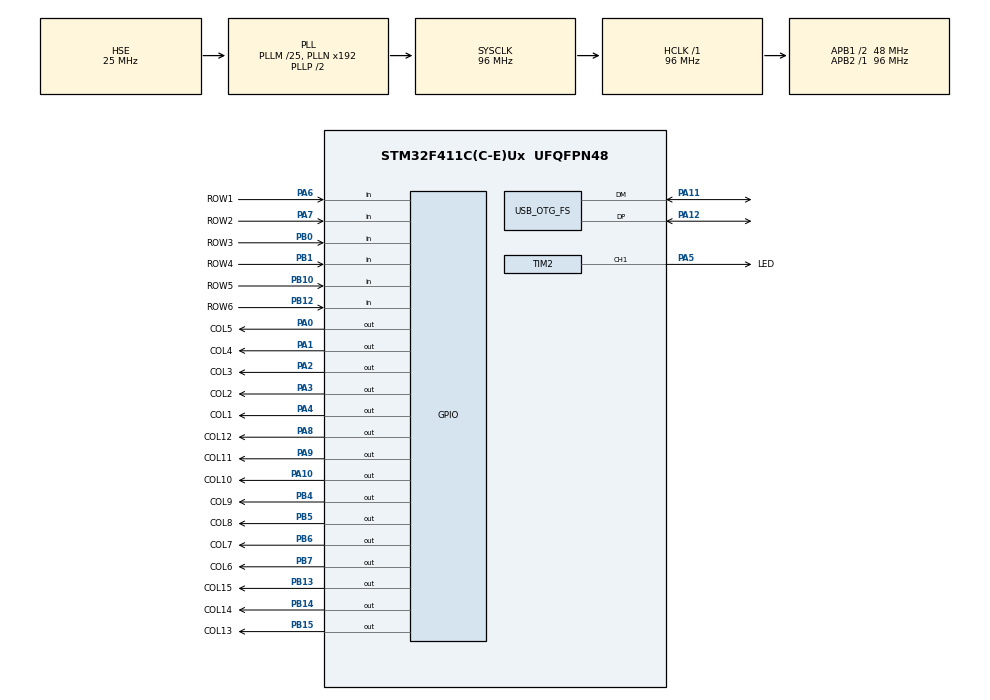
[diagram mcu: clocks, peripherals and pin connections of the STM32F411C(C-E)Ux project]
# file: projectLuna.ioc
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Dma.Request0=TIM2_CH1
Dma.TIM2_CH1.0.Direction=DMA_MEMORY_TO_PERIPH
Dma.TIM2_CH1.0.FIFOMode=DMA_FIFOMODE_DISABLE
Dma.TIM2_CH1.0.Instance=DMA1_Stream5
Dma.TIM2_CH1.0.MemDataAlignment=DMA_MDATAALIGN_WORD
Dma.TIM2_CH1.0.MemInc=DMA_MINC_ENABLE
Dma.TIM2_CH1.0.Mode=DMA_CIRCULAR
Dma.TIM2_CH1.0.PeriphDataAlignment=DMA_PDATAALIGN_WORD
Dma.TIM2_CH1.0.PeriphInc=DMA_PINC_DISABLE
Dma.TIM2_CH1.0.Priority=DMA_PRIORITY_LOW
Mcu.Family=STM32F4
Mcu.Name=STM32F411C(C-E)Ux
Mcu.Package=UFQFPN48
NVIC.DMA1_Stream5_IRQn=true\:0\:0\:false\:false\:true\:false\:true
NVIC.OTG_FS_IRQn=true\:0\:0\:false\:false\:true\:false\:true
NVIC.PriorityGroup=NVIC_PRIORITYGROUP_4
PA0-WKUP.GPIO_Label=COL5
PA0-WKUP.Signal=GPIO_Output
PA1.GPIO_Label=COL4
PA1.Signal=GPIO_Output
PA10.GPIO_Label=COL10
PA10.Signal=GPIO_Output
PA11.Mode=Device_Only
PA11.Signal=USB_OTG_FS_DM
PA12.Mode=Device_Only
PA12.Signal=USB_OTG_FS_DP
PA2.GPIO_Label=COL3
PA2.Signal=GPIO_Output
PA3.GPIO_Label=COL2
PA3.Signal=GPIO_Output
PA4.GPIO_Label=COL1
PA4.Signal=GPIO_Output
PA5.GPIO_Label=LED
PA5.GPIO_ModeDefaultPP=GPIO_MODE_AF_OD
PA5.GPIO_PuPd=GPIO_NOPULL
PA5.GPIO_Speed=GPIO_SPEED_FREQ_VERY_HIGH
PA5.Signal=S_TIM2_CH1_ETR
PA6.GPIO_Label=ROW1
PA6.GPIO_PuPd=GPIO_PULLDOWN
PA6.Signal=GPIO_Input
PA7.GPIO_Label=ROW2
PA7.GPIO_PuPd=GPIO_PULLDOWN
PA7.Signal=GPIO_Input
PA8.GPIO_Label=COL12
PA8.Signal=GPIO_Output
PA9.GPIO_Label=COL11
PA9.Signal=GPIO_Output
PB0.GPIO_Label=ROW3
PB0.GPIO_PuPd=GPIO_PULLDOWN
PB0.Signal=GPIO_Input
PB1.GPIO_Label=ROW4
PB1.GPIO_PuPd=GPIO_PULLDOWN
PB1.Signal=GPIO_Input
PB10.GPIO_Label=ROW5
PB10.GPIO_PuPd=GPIO_PULLDOWN
PB10.Signal=GPIO_Input
PB12.GPIO_Label=ROW6
PB12.GPIO_PuPd=GPIO_PULLDOWN
PB12.Signal=GPIO_Input
PB13.GPIO_Label=COL15
PB13.Signal=GPIO_Output
PB14.GPIO_Label=COL14
PB14.Signal=GPIO_Output
PB15.GPIO_Label=COL13
PB15.Signal=GPIO_Output
PB4.GPIO_Label=COL9
PB4.Signal=GPIO_Output
PB5.GPIO_Label=COL8
PB5.Signal=GPIO_Output
PB6.GPIO_Label=COL7
PB6.Signal=GPIO_Output
PB7.GPIO_Label=COL6
PB7.Signal=GPIO_Output
PH0\ -\ OSC_IN.Mode=HSE-External-Oscillator
PH0\ -\ OSC_IN.Signal=RCC_OSC_IN
PH1\ -\ OSC_OUT.Mode=HSE-External-Oscillator
PH1\ -\ OSC_OUT.Signal=RCC_OSC_OUT
ProjectManager.HeapSize=0x200
ProjectManager.StackSize=0x400
ProjectManager.TargetToolchain=STM32CubeIDE
RCC.48MHZClocksFreq_Value=48000000
RCC.AHBFreq_Value=96000000
RCC.APB1CLKDivider=RCC_HCLK_DIV2
RCC.APB1Freq_Value=48000000
RCC.APB1TimFreq_Value=96000000
RCC.APB2Freq_Value=96000000
RCC.APB2TimFreq_Value=96000000
RCC.CortexFreq_Value=96000000
RCC.HCLKFreq_Value=96000000
RCC.HSE_VALUE=25000000
RCC.HSI_VALUE=16000000
RCC.LSE_VALUE=32768
RCC.PLLM=25
RCC.SYSCLKFreq_VALUE=96000000
RCC.SYSCLKSource=RCC_SYSCLKSOURCE_PLLCLK
RCC.VCOOutputFreq_Value=192000000
SH.S_TIM2_CH1_ETR.0=TIM2_CH1,PWM Generation1 CH1
TIM2.Channel-PWM\ Generation1\ CH1=TIM_CHANNEL_1
TIM2.Period=2
TIM2.Prescaler=39
USB_DEVICE.CLASS_NAME_FS=HID
USB_DEVICE.MANUFACTURER_STRING=Sebastian Szczepanski
USB_DEVICE.PRODUCT_STRING_HID_FS=projectLuna Keyboard
USB_DEVICE.VirtualMode=Hid
USB_DEVICE.VirtualModeFS=Hid_FS
USB_OTG_FS.VirtualMode=Device_Only
VP_USB_DEVICE_VS_USB_DEVICE_HID_FS.Mode=HID_FS
board=custom

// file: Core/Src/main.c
/* USER CODE BEGIN Header */
/**
  ******************************************************************************
  * @file           : main.c
  * @brief          : Main program body
  ******************************************************************************
  * @attention
  *
  * <h2><center>&copy; Copyright (c) 2021 STMicroelectronics.
  * All rights reserved.</center></h2>
  *
  * This software component is licensed by ST under BSD 3-Clause license,
  * the "License"; You may not use this file except in compliance with the
  * License. You may obtain a copy of the License at:
  *                        opensource.org/licenses/BSD-3-Clause
  *
  ******************************************************************************
  */
/* USER CODE END Header */
#include "main.h"
#include "usb_device.h"

/* USER CODE BEGIN Includes */
#include <time.h>

#include "led.h"
#include "matrix.h"

/* USER CODE END Includes */

TIM_HandleTypeDef htim2;
DMA_HandleTypeDef hdma_tim2_ch1;

void SystemClock_Config(void);
static void MX_GPIO_Init(void);
static void MX_DMA_Init(void);
static void MX_TIM2_Init(void);

/* USER CODE BEGIN 0 */

/* Define callbacks for driving LEDs */
void HAL_TIM_PWM_PulseFinishedHalfCpltCallback(TIM_HandleTypeDef *htim) {
  if(htim->Instance == TIM2) {
    LED_DMA_Step(1);
  }
}

void HAL_TIM_PWM_PulseFinishedCallback(TIM_HandleTypeDef *htim) {
  if(htim->Instance == TIM2) {
    LED_DMA_Step(0);
  }
}

/* USER CODE END 0 */

int main(void)
{

  /* MCU Configuration--------------------------------------------------------*/

  /* Reset of all peripherals, Initializes the Flash interface and the Systick. */
  HAL_Init();

  /* Configure the system clock */
  SystemClock_Config();

  /* Initialize all configured peripherals */
  MX_GPIO_Init();
  MX_DMA_Init();
  MX_TIM2_Init();
  MX_USB_DEVICE_Init();
  /* USER CODE BEGIN 2 */
  LED_Init(&htim2, TIM_CHANNEL_1);
  MATRIX_Init();

  /* USER CODE END 2 */

  /* Infinite loop */
  /* USER CODE BEGIN WHILE */
  // TODO: Replace with a Timer
  uint32_t last_tick = HAL_GetTick();
  while (1)
  {
    const uint32_t current_tick = HAL_GetTick();

    if(current_tick >= last_tick + 1) {
      LED_Update();
      MATRIX_Scan();
      last_tick = current_tick;
    }

    /* USER CODE END WHILE */

  }
}

void SystemClock_Config(void)
{
  RCC_OscInitTypeDef RCC_OscInitStruct = {0};
  RCC_ClkInitTypeDef RCC_ClkInitStruct = {0};

  /** Configure the main internal regulator output voltage
  */
  __HAL_RCC_PWR_CLK_ENABLE();
  __HAL_PWR_VOLTAGESCALING_CONFIG(PWR_REGULATOR_VOLTAGE_SCALE1);
  /** Initializes the RCC Oscillators according to the specified parameters
  * in the RCC_OscInitTypeDef structure.
  */
  RCC_OscInitStruct.OscillatorType = RCC_OSCILLATORTYPE_HSE;
  RCC_OscInitStruct.HSEState = RCC_HSE_ON;
  RCC_OscInitStruct.PLL.PLLState = RCC_PLL_ON;
  RCC_OscInitStruct.PLL.PLLSource = RCC_PLLSOURCE_HSE;
  RCC_OscInitStruct.PLL.PLLM = 25;
  RCC_OscInitStruct.PLL.PLLN = 192;
  RCC_OscInitStruct.PLL.PLLP = RCC_PLLP_DIV2;
  RCC_OscInitStruct.PLL.PLLQ = 4;
  if (HAL_RCC_OscConfig(&RCC_OscInitStruct) != HAL_OK)
  {
    Error_Handler();
  }
  /** Initializes the CPU, AHB and APB buses clocks
  */
  RCC_ClkInitStruct.ClockType = RCC_CLOCKTYPE_HCLK|RCC_CLOCKTYPE_SYSCLK
                              |RCC_CLOCKTYPE_PCLK1|RCC_CLOCKTYPE_PCLK2;
  RCC_ClkInitStruct.SYSCLKSource = RCC_SYSCLKSOURCE_PLLCLK;
  RCC_ClkInitStruct.AHBCLKDivider = RCC_SYSCLK_DIV1;
  RCC_ClkInitStruct.APB1CLKDivider = RCC_HCLK_DIV2;
  RCC_ClkInitStruct.APB2CLKDivider = RCC_HCLK_DIV1;

  if (HAL_RCC_ClockConfig(&RCC_ClkInitStruct, FLASH_LATENCY_3) != HAL_OK)
  {
    Error_Handler();
  }
}

static void MX_TIM2_Init(void)
{

  TIM_MasterConfigTypeDef sMasterConfig = {0};
  TIM_OC_InitTypeDef sConfigOC = {0};

  htim2.Instance = TIM2;
  htim2.Init.Prescaler = 39;
  htim2.Init.CounterMode = TIM_COUNTERMODE_UP;
  htim2.Init.Period = 2;
  htim2.Init.ClockDivision = TIM_CLOCKDIVISION_DIV1;
  htim2.Init.AutoReloadPreload = TIM_AUTORELOAD_PRELOAD_DISABLE;
  if (HAL_TIM_PWM_Init(&htim2) != HAL_OK)
  {
    Error_Handler();
  }
  sMasterConfig.MasterOutputTrigger = TIM_TRGO_RESET;
  sMasterConfig.MasterSlaveMode = TIM_MASTERSLAVEMODE_DISABLE;
  if (HAL_TIMEx_MasterConfigSynchronization(&htim2, &sMasterConfig) != HAL_OK)
  {
    Error_Handler();
  }
  sConfigOC.OCMode = TIM_OCMODE_PWM1;
  sConfigOC.Pulse = 0;
  sConfigOC.OCPolarity = TIM_OCPOLARITY_HIGH;
  sConfigOC.OCFastMode = TIM_OCFAST_DISABLE;
  if (HAL_TIM_PWM_ConfigChannel(&htim2, &sConfigOC, TIM_CHANNEL_1) != HAL_OK)
  {
    Error_Handler();
  }
  HAL_TIM_MspPostInit(&htim2);

}

static void MX_DMA_Init(void)
{

  /* DMA controller clock enable */
  __HAL_RCC_DMA1_CLK_ENABLE();

  /* DMA interrupt init */
  /* DMA1_Stream5_IRQn interrupt configuration */
  HAL_NVIC_SetPriority(DMA1_Stream5_IRQn, 0, 0);
  HAL_NVIC_EnableIRQ(DMA1_Stream5_IRQn);

}

static void MX_GPIO_Init(void)
{
  GPIO_InitTypeDef GPIO_InitStruct = {0};

  /* GPIO Ports Clock Enable */
  __HAL_RCC_GPIOH_CLK_ENABLE();
  __HAL_RCC_GPIOA_CLK_ENABLE();
  __HAL_RCC_GPIOB_CLK_ENABLE();

  /*Configure GPIO pin Output Level */
  HAL_GPIO_WritePin(GPIOA, COL5_Pin|COL4_Pin|COL3_Pin|COL2_Pin
                          |COL1_Pin|COL12_Pin|COL11_Pin|COL10_Pin, GPIO_PIN_RESET);

  /*Configure GPIO pin Output Level */
  HAL_GPIO_WritePin(GPIOB, COL15_Pin|COL14_Pin|COL13_Pin|COL9_Pin
                          |COL8_Pin|COL7_Pin|COL6_Pin, GPIO_PIN_RESET);

  /*Configure GPIO pins : COL5_Pin COL4_Pin COL3_Pin COL2_Pin
                           COL1_Pin COL12_Pin COL11_Pin COL10_Pin */
  GPIO_InitStruct.Pin = COL5_Pin|COL4_Pin|COL3_Pin|COL2_Pin
                          |COL1_Pin|COL12_Pin|COL11_Pin|COL10_Pin;
  GPIO_InitStruct.Mode = GPIO_MODE_OUTPUT_PP;
  GPIO_InitStruct.Pull = GPIO_NOPULL;
  GPIO_InitStruct.Speed = GPIO_SPEED_FREQ_LOW;
  HAL_GPIO_Init(GPIOA, &GPIO_InitStruct);

  /*Configure GPIO pins : ROW1_Pin ROW2_Pin */
  GPIO_InitStruct.Pin = ROW1_Pin|ROW2_Pin;
  GPIO_InitStruct.Mode = GPIO_MODE_INPUT;
  GPIO_InitStruct.Pull = GPIO_PULLDOWN;
  HAL_GPIO_Init(GPIOA, &GPIO_InitStruct);

  /*Configure GPIO pins : ROW3_Pin ROW4_Pin ROW5_Pin ROW6_Pin */
  GPIO_InitStruct.Pin = ROW3_Pin|ROW4_Pin|ROW5_Pin|ROW6_Pin;
  GPIO_InitStruct.Mode = GPIO_MODE_INPUT;
  GPIO_InitStruct.Pull = GPIO_PULLDOWN;
  HAL_GPIO_Init(GPIOB, &GPIO_InitStruct);

  /*Configure GPIO pins : COL15_Pin COL14_Pin COL13_Pin COL9_Pin
                           COL8_Pin COL7_Pin COL6_Pin */
  GPIO_InitStruct.Pin = COL15_Pin|COL14_Pin|COL13_Pin|COL9_Pin
                          |COL8_Pin|COL7_Pin|COL6_Pin;
  GPIO_InitStruct.Mode = GPIO_MODE_OUTPUT_PP;
  GPIO_InitStruct.Pull = GPIO_NOPULL;
  GPIO_InitStruct.Speed = GPIO_SPEED_FREQ_LOW;
  HAL_GPIO_Init(GPIOB, &GPIO_InitStruct);

}

void Error_Handler(void)
{
  __disable_irq();
  while (1)
  {
  }
}

/************************ (C) COPYRIGHT STMicroelectronics *****END OF FILE****/
